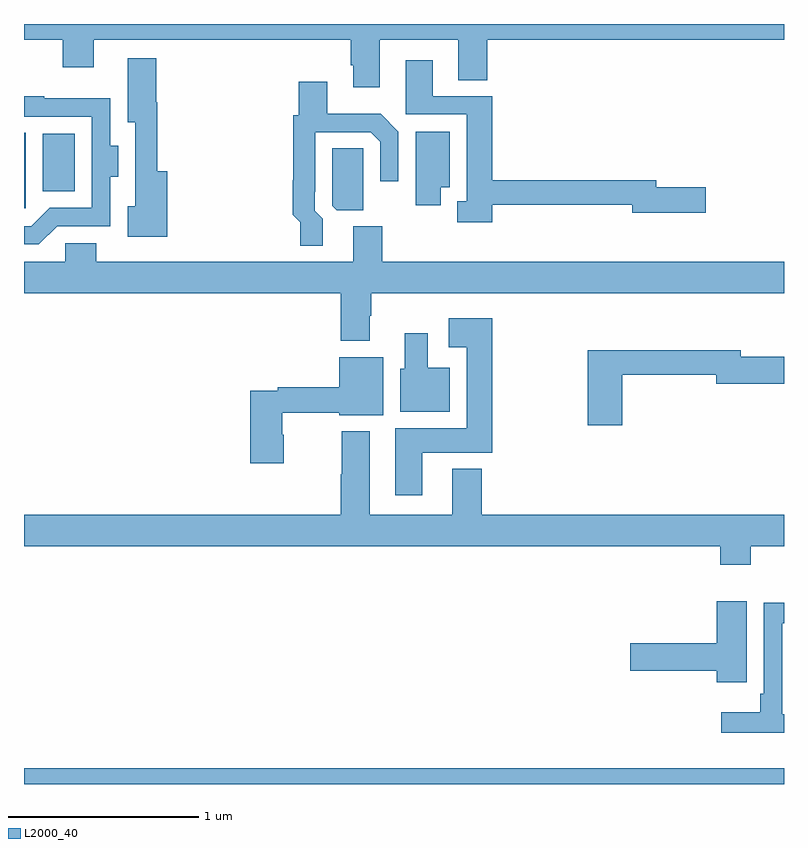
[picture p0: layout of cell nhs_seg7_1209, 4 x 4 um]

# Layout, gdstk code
import gdstk
lib = gdstk.Library(unit=1e-6, precision=1e-09)
def R(c, l, rs):  # rectangles x0, y0, x1, y1
    for r in rs: c.add(gdstk.rectangle(r[:2], r[2:], *l))
def P(c, l, *ps):  # polygons
    for p in ps: c.add(gdstk.Polygon(p, *l))
L2000_40 = (2000, 40)

nhs_seg7_1209 = lib.new_cell('nhs_seg7_1209')
R(nhs_seg7_1209, L2000_40, [(195,1030,199,1030.084), (195,1033.031,195.01,1033.427), (195.098,1033.121,195.268,1033.423)])
P(nhs_seg7_1209, L2000_40, [(196.873,1033.916),(197.285,1033.916),(197.285,1033.705),(197.438,1033.705),(197.438,1033.916),(199,1033.916),(199,1034),(195,1034),(195,1033.916),(195.203,1033.916),(195.203,1033.773),(195.367,1033.773),(195.367,1033.916),(196.721,1033.916),(196.721,1033.783),(196.733,1033.783),(196.733,1033.668),(196.873,1033.668)],
  [(195.755,1033.225),(195.701,1033.225),(195.701,1033.588),(195.695,1033.588),(195.695,1033.819),(195.545,1033.819),(195.545,1033.484),(195.585,1033.484),(195.585,1033.041),(195.545,1033.041),(195.545,1032.881),(195.755,1032.881)],
  [(197.465,1033.05),(198.2,1033.05),(198.2,1033.007),(198.589,1033.007),(198.589,1033.142),(198.328,1033.142),(198.328,1033.178),(197.465,1033.178),(197.465,1033.62),(197.152,1033.62),(197.152,1033.81),(197.009,1033.81),(197.009,1033.524),(197.33,1033.524),(197.33,1033.066),(197.279,1033.066),(197.279,1032.956),(197.465,1032.956)],
  [(196.573,1032.974),(196.53,1033.017),(196.53,1033.117),(196.533,1033.117),(196.533,1033.431),(196.824,1033.431),(196.875,1033.38),(196.875,1033.173),(196.971,1033.173),(196.971,1033.434),(196.877,1033.528),(196.597,1033.528),(196.597,1033.696),(196.445,1033.696),(196.445,1033.521),(196.417,1033.521),(196.417,1033.178),(196.415,1033.178),(196.415,1032.996),(196.453,1032.957),(196.453,1032.834),(196.573,1032.834)],
  [(195.174,1032.936),(195.454,1032.936),(195.454,1033.196),(195.496,1033.196),(195.496,1033.36),(195.453,1033.36),(195.453,1033.609),(195.107,1033.609),(195.107,1033.621),(195,1033.621),(195,1033.512),(195.357,1033.512),(195.357,1033.032),(195.135,1033.032),(195.039,1032.936),(195,1032.936),(195,1032.84),(195.078,1032.84)],
  [(197.194,1033.142),(197.242,1033.142),(197.242,1033.432),(197.063,1033.432),(197.063,1033.046),(197.194,1033.046)],
  [(196.786,1033.235),(196.785,1033.235),(196.785,1033.346),(196.623,1033.346),(196.623,1033.044),(196.647,1033.021),(196.786,1033.021)],
  [(196.819,1032.464),(196.827,1032.464),(196.827,1032.584),(199,1032.584),(199,1032.748),(196.886,1032.748),(196.886,1032.936),(196.733,1032.936),(196.733,1032.748),(195.38,1032.748),(195.38,1032.846),(195.216,1032.846),(195.216,1032.748),(195,1032.748),(195,1032.584),(196.667,1032.584),(196.667,1032.332),(196.819,1032.332)],
  [(197.095,1031.744),(197.465,1031.744),(197.465,1032.451),(197.235,1032.451),(197.235,1032.299),(197.33,1032.299),(197.33,1031.872),(196.955,1031.872),(196.955,1031.52),(197.095,1031.52)],
  [(197.242,1032.19),(197.125,1032.19),(197.125,1032.373),(197.003,1032.373),(197.003,1032.186),(196.979,1032.186),(196.979,1031.96),(197.242,1031.96)],
  [(198.149,1032.154),(198.644,1032.154),(198.644,1032.107),(199,1032.107),(199,1032.249),(198.772,1032.249),(198.772,1032.283),(197.966,1032.283),(197.966,1031.889),(198.149,1031.889)],
  [(196.368,1031.838),(196.36,1031.838),(196.36,1031.953),(196.658,1031.953),(196.658,1031.942),(196.891,1031.942),(196.891,1032.247),(196.658,1032.247),(196.658,1032.089),(196.336,1032.089),(196.336,1032.069),(196.19,1032.069),(196.19,1031.688),(196.368,1031.688)],
  [(198.825,1031.252),(199,1031.252),(199,1031.416),(197.408,1031.416),(197.408,1031.659),(197.255,1031.659),(197.255,1031.416),(196.819,1031.416),(196.819,1031.857),(196.672,1031.857),(196.672,1031.631),(196.667,1031.631),(196.667,1031.416),(195,1031.416),(195,1031.252),(198.665,1031.252),(198.665,1031.153),(198.825,1031.153)],
  [(198.805,1030.963),(198.647,1030.963),(198.647,1030.742),(198.192,1030.742),(198.192,1030.595),(198.647,1030.595),(198.647,1030.536),(198.805,1030.536)],
  [(199,1030.368),(198.99,1030.368),(198.99,1030.845),(199,1030.845),(199,1030.954),(198.894,1030.954),(198.894,1030.474),(198.874,1030.474),(198.874,1030.378),(198.669,1030.378),(198.669,1030.271),(199,1030.271)])

lib.write_gds('nhs_seg7_1209.gds')
